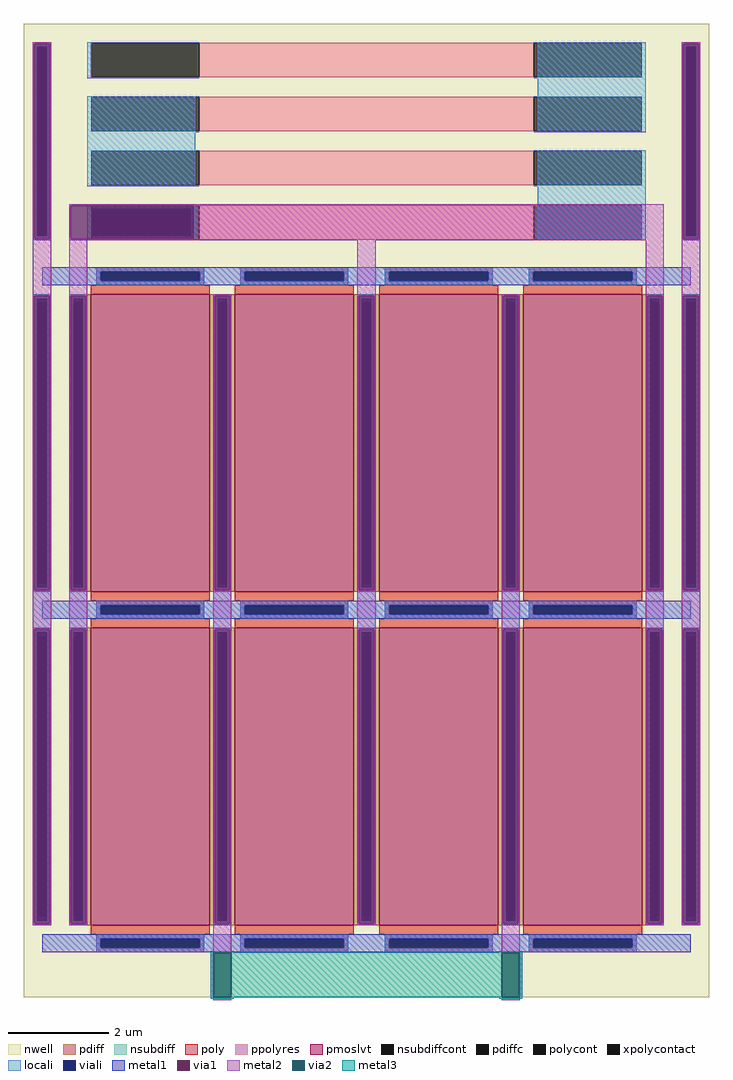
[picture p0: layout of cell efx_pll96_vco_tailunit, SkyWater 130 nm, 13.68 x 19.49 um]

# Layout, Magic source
magic
tech sky130A
magscale 1 2
<< nwell >>
rect -2736 4932 0 5976
rect -2736 3564 0 3708
rect -2736 2088 0 2340
<< nsubdiff >>
rect -2700 5880 -2628 5904
rect -2700 5136 -2681 5880
rect -2647 5136 -2628 5880
rect -2700 5112 -2628 5136
rect -108 5880 -36 5904
rect -108 5136 -89 5880
rect -55 5136 -36 5880
rect -108 5112 -36 5136
<< nsubdiffcont >>
rect -2681 5136 -2647 5880
rect -89 5136 -55 5880
<< poly >>
rect -2448 4985 -2016 5004
rect -2448 4951 -2429 4985
rect -2035 4951 -2016 4985
rect -2448 4932 -2016 4951
rect -1872 4985 -1440 5004
rect -1872 4951 -1853 4985
rect -1459 4951 -1440 4985
rect -1872 4932 -1440 4951
rect -1296 4985 -864 5004
rect -1296 4951 -1277 4985
rect -883 4951 -864 4985
rect -1296 4932 -864 4951
rect -720 4985 -288 5004
rect -720 4951 -701 4985
rect -307 4951 -288 4985
rect -720 4932 -288 4951
rect -2448 3653 -2016 3672
rect -2448 3619 -2429 3653
rect -2035 3619 -2016 3653
rect -2448 3600 -2016 3619
rect -1872 3653 -1440 3672
rect -1872 3619 -1853 3653
rect -1459 3619 -1440 3653
rect -1872 3600 -1440 3619
rect -1296 3653 -864 3672
rect -1296 3619 -1277 3653
rect -883 3619 -864 3653
rect -1296 3600 -864 3619
rect -720 3653 -288 3672
rect -720 3619 -701 3653
rect -307 3619 -288 3653
rect -720 3600 -288 3619
rect -2448 2321 -2016 2340
rect -2448 2287 -2429 2321
rect -2035 2287 -2016 2321
rect -2448 2268 -2016 2287
rect -1872 2321 -1440 2340
rect -1872 2287 -1853 2321
rect -1459 2287 -1440 2321
rect -1872 2268 -1440 2287
rect -1296 2321 -864 2340
rect -1296 2287 -1277 2321
rect -883 2287 -864 2321
rect -1296 2268 -864 2287
rect -720 2321 -288 2340
rect -720 2287 -701 2321
rect -307 2287 -288 2321
rect -720 2268 -288 2287
<< polycont >>
rect -2429 4951 -2035 4985
rect -1853 4951 -1459 4985
rect -1277 4951 -883 4985
rect -701 4951 -307 4985
rect -2429 3619 -2035 3653
rect -1853 3619 -1459 3653
rect -1277 3619 -883 3653
rect -701 3619 -307 3653
rect -2429 2287 -2035 2321
rect -1853 2287 -1459 2321
rect -1277 2287 -883 2321
rect -701 2287 -307 2321
<< locali >>
rect -2700 5886 -2628 5904
rect -2700 5130 -2682 5886
rect -2646 5130 -2628 5886
rect -2484 5328 -2052 5688
rect -684 5544 -252 5904
rect -108 5886 -36 5904
rect -2700 5112 -2628 5130
rect -2484 5238 -2052 5256
rect -2484 5130 -2466 5238
rect -2070 5130 -2052 5238
rect -2484 5112 -2052 5130
rect -684 5112 -252 5472
rect -108 5130 -90 5886
rect -54 5130 -36 5886
rect -108 5112 -36 5130
rect -2448 4986 -2016 5004
rect -2448 4950 -2430 4986
rect -2034 4950 -2016 4986
rect -2448 4932 -2016 4950
rect -1872 4986 -1440 5004
rect -1872 4950 -1854 4986
rect -1458 4950 -1440 4986
rect -1872 4932 -1440 4950
rect -1296 4986 -864 5004
rect -1296 4950 -1278 4986
rect -882 4950 -864 4986
rect -1296 4932 -864 4950
rect -720 4986 -288 5004
rect -720 4950 -702 4986
rect -306 4950 -288 4986
rect -720 4932 -288 4950
rect -2700 4878 -2628 4896
rect -2700 3726 -2682 4878
rect -2646 3726 -2628 4878
rect -2700 3546 -2628 3726
rect -2700 2394 -2682 3546
rect -2646 2394 -2628 3546
rect -2700 2376 -2628 2394
rect -2556 4878 -2484 4896
rect -2556 3726 -2538 4878
rect -2502 3726 -2484 4878
rect -2556 3546 -2484 3726
rect -1980 4878 -1908 4896
rect -1980 3726 -1962 4878
rect -1926 3726 -1908 4878
rect -2448 3654 -2016 3672
rect -2448 3618 -2430 3654
rect -2034 3618 -2016 3654
rect -2448 3600 -2016 3618
rect -2556 2394 -2538 3546
rect -2502 2394 -2484 3546
rect -2556 2376 -2484 2394
rect -1980 3546 -1908 3726
rect -1404 4878 -1332 4896
rect -1404 3726 -1386 4878
rect -1350 3726 -1332 4878
rect -1872 3654 -1440 3672
rect -1872 3618 -1854 3654
rect -1458 3618 -1440 3654
rect -1872 3600 -1440 3618
rect -1980 2394 -1962 3546
rect -1926 2394 -1908 3546
rect -1980 2376 -1908 2394
rect -1404 3546 -1332 3726
rect -828 4878 -756 4896
rect -828 3726 -810 4878
rect -774 3726 -756 4878
rect -1296 3654 -864 3672
rect -1296 3618 -1278 3654
rect -882 3618 -864 3654
rect -1296 3600 -864 3618
rect -1404 2394 -1386 3546
rect -1350 2394 -1332 3546
rect -1404 2376 -1332 2394
rect -828 3546 -756 3726
rect -252 4878 -180 4896
rect -252 3726 -234 4878
rect -198 3726 -180 4878
rect -720 3654 -288 3672
rect -720 3618 -702 3654
rect -306 3618 -288 3654
rect -720 3600 -288 3618
rect -828 2394 -810 3546
rect -774 2394 -756 3546
rect -828 2376 -756 2394
rect -252 3546 -180 3726
rect -252 2394 -234 3546
rect -198 2394 -180 3546
rect -252 2376 -180 2394
rect -108 4878 -36 4896
rect -108 3726 -90 4878
rect -54 3726 -36 4878
rect -108 3546 -36 3726
rect -108 2394 -90 3546
rect -54 2394 -36 3546
rect -108 2376 -36 2394
rect -2448 2322 -2016 2340
rect -2448 2286 -2430 2322
rect -2034 2286 -2016 2322
rect -2448 2268 -2016 2286
rect -1872 2322 -1440 2340
rect -1872 2286 -1854 2322
rect -1458 2286 -1440 2322
rect -1872 2268 -1440 2286
rect -1296 2322 -864 2340
rect -1296 2286 -1278 2322
rect -882 2286 -864 2322
rect -1296 2268 -864 2286
rect -720 2322 -288 2340
rect -720 2286 -702 2322
rect -306 2286 -288 2322
rect -720 2268 -288 2286
<< viali >>
rect -2682 5880 -2646 5886
rect -2682 5136 -2681 5880
rect -2681 5136 -2647 5880
rect -2647 5136 -2646 5880
rect -2682 5130 -2646 5136
rect -2466 5130 -2070 5238
rect -90 5880 -54 5886
rect -90 5136 -89 5880
rect -89 5136 -55 5880
rect -55 5136 -54 5880
rect -90 5130 -54 5136
rect -2430 4985 -2034 4986
rect -2430 4951 -2429 4985
rect -2429 4951 -2035 4985
rect -2035 4951 -2034 4985
rect -2430 4950 -2034 4951
rect -1854 4985 -1458 4986
rect -1854 4951 -1853 4985
rect -1853 4951 -1459 4985
rect -1459 4951 -1458 4985
rect -1854 4950 -1458 4951
rect -1278 4985 -882 4986
rect -1278 4951 -1277 4985
rect -1277 4951 -883 4985
rect -883 4951 -882 4985
rect -1278 4950 -882 4951
rect -702 4985 -306 4986
rect -702 4951 -701 4985
rect -701 4951 -307 4985
rect -307 4951 -306 4985
rect -702 4950 -306 4951
rect -2682 3726 -2646 4878
rect -2682 2394 -2646 3546
rect -2538 3726 -2502 4878
rect -1962 3726 -1926 4878
rect -2430 3653 -2034 3654
rect -2430 3619 -2429 3653
rect -2429 3619 -2035 3653
rect -2035 3619 -2034 3653
rect -2430 3618 -2034 3619
rect -2538 2394 -2502 3546
rect -1386 3726 -1350 4878
rect -1854 3653 -1458 3654
rect -1854 3619 -1853 3653
rect -1853 3619 -1459 3653
rect -1459 3619 -1458 3653
rect -1854 3618 -1458 3619
rect -1962 2394 -1926 3546
rect -810 3726 -774 4878
rect -1278 3653 -882 3654
rect -1278 3619 -1277 3653
rect -1277 3619 -883 3653
rect -883 3619 -882 3653
rect -1278 3618 -882 3619
rect -1386 2394 -1350 3546
rect -234 3726 -198 4878
rect -702 3653 -306 3654
rect -702 3619 -701 3653
rect -701 3619 -307 3653
rect -307 3619 -306 3653
rect -702 3618 -306 3619
rect -810 2394 -774 3546
rect -234 2394 -198 3546
rect -90 3726 -54 4878
rect -90 2394 -54 3546
rect -2430 2321 -2034 2322
rect -2430 2287 -2429 2321
rect -2429 2287 -2035 2321
rect -2035 2287 -2034 2321
rect -2430 2286 -2034 2287
rect -1854 2321 -1458 2322
rect -1854 2287 -1853 2321
rect -1853 2287 -1459 2321
rect -1459 2287 -1458 2321
rect -1854 2286 -1458 2287
rect -1278 2321 -882 2322
rect -1278 2287 -1277 2321
rect -1277 2287 -883 2321
rect -883 2287 -882 2321
rect -1278 2286 -882 2287
rect -702 2321 -306 2322
rect -702 2287 -701 2321
rect -701 2287 -307 2321
rect -307 2287 -306 2321
rect -702 2286 -306 2287
<< metal1 >>
rect -2700 5898 -2628 5904
rect -2700 5118 -2694 5898
rect -2634 5118 -2628 5898
rect -108 5898 -36 5904
rect -2700 5112 -2628 5118
rect -2556 5250 -2058 5256
rect -2556 5118 -2550 5250
rect -2556 5112 -2058 5118
rect -108 5118 -102 5898
rect -42 5118 -36 5898
rect -108 5112 -36 5118
rect -2664 4986 -72 5004
rect -2664 4950 -2430 4986
rect -2034 4950 -1854 4986
rect -1458 4950 -1278 4986
rect -882 4950 -702 4986
rect -306 4950 -72 4986
rect -2664 4932 -72 4950
rect -2700 4890 -2628 4896
rect -1980 4890 -1908 4896
rect -2700 3714 -2694 4890
rect -2634 3714 -2628 4890
rect -2700 3708 -2628 3714
rect -2556 3714 -2550 4890
rect -2490 3714 -2484 4890
rect -2556 3708 -2484 3714
rect -1980 3714 -1974 4890
rect -1914 3714 -1908 4890
rect -1980 3708 -1908 3714
rect -1404 4890 -1332 4896
rect -1404 3714 -1398 4890
rect -1338 3714 -1332 4890
rect -1404 3708 -1332 3714
rect -828 4890 -756 4896
rect -828 3714 -822 4890
rect -762 3714 -756 4890
rect -828 3708 -756 3714
rect -252 4890 -180 4896
rect -252 3714 -246 4890
rect -186 3714 -180 4890
rect -252 3708 -180 3714
rect -108 4890 -36 4896
rect -108 3714 -102 4890
rect -42 3714 -36 4890
rect -108 3708 -36 3714
rect -2664 3654 -72 3672
rect -2664 3618 -2430 3654
rect -2034 3618 -1854 3654
rect -1458 3618 -1278 3654
rect -882 3618 -702 3654
rect -306 3618 -72 3654
rect -2664 3600 -72 3618
rect -2700 3558 -2628 3564
rect -2700 2382 -2694 3558
rect -2634 2382 -2628 3558
rect -2700 2376 -2628 2382
rect -2556 3558 -2484 3564
rect -2556 2382 -2550 3558
rect -2490 2382 -2484 3558
rect -2556 2376 -2484 2382
rect -1980 3558 -1908 3564
rect -1980 2382 -1974 3558
rect -1914 2382 -1908 3558
rect -1980 2376 -1908 2382
rect -1404 3558 -1332 3564
rect -1404 2382 -1398 3558
rect -1338 2382 -1332 3558
rect -1404 2376 -1332 2382
rect -828 3558 -756 3564
rect -828 2382 -822 3558
rect -762 2382 -756 3558
rect -828 2376 -756 2382
rect -252 3558 -180 3564
rect -252 2382 -246 3558
rect -186 2382 -180 3558
rect -252 2376 -180 2382
rect -108 3558 -36 3564
rect -108 2382 -102 3558
rect -42 2382 -36 3558
rect -108 2376 -36 2382
rect -2664 2322 -72 2340
rect -2664 2286 -2430 2322
rect -2034 2286 -1854 2322
rect -1458 2286 -1278 2322
rect -882 2286 -702 2322
rect -306 2286 -72 2322
rect -2664 2268 -72 2286
<< via1 >>
rect -2694 5886 -2634 5898
rect -2694 5130 -2682 5886
rect -2682 5130 -2646 5886
rect -2646 5130 -2634 5886
rect -2694 5118 -2634 5130
rect -2550 5238 -2058 5250
rect -2550 5130 -2466 5238
rect -2466 5130 -2070 5238
rect -2070 5130 -2058 5238
rect -2550 5118 -2058 5130
rect -102 5886 -42 5898
rect -102 5130 -90 5886
rect -90 5130 -54 5886
rect -54 5130 -42 5886
rect -102 5118 -42 5130
rect -2694 4878 -2634 4890
rect -2694 3726 -2682 4878
rect -2682 3726 -2646 4878
rect -2646 3726 -2634 4878
rect -2694 3714 -2634 3726
rect -2550 4878 -2490 4890
rect -2550 3726 -2538 4878
rect -2538 3726 -2502 4878
rect -2502 3726 -2490 4878
rect -2550 3714 -2490 3726
rect -1974 4878 -1914 4890
rect -1974 3726 -1962 4878
rect -1962 3726 -1926 4878
rect -1926 3726 -1914 4878
rect -1974 3714 -1914 3726
rect -1398 4878 -1338 4890
rect -1398 3726 -1386 4878
rect -1386 3726 -1350 4878
rect -1350 3726 -1338 4878
rect -1398 3714 -1338 3726
rect -822 4878 -762 4890
rect -822 3726 -810 4878
rect -810 3726 -774 4878
rect -774 3726 -762 4878
rect -822 3714 -762 3726
rect -246 4878 -186 4890
rect -246 3726 -234 4878
rect -234 3726 -198 4878
rect -198 3726 -186 4878
rect -246 3714 -186 3726
rect -102 4878 -42 4890
rect -102 3726 -90 4878
rect -90 3726 -54 4878
rect -54 3726 -42 4878
rect -102 3714 -42 3726
rect -2694 3546 -2634 3558
rect -2694 2394 -2682 3546
rect -2682 2394 -2646 3546
rect -2646 2394 -2634 3546
rect -2694 2382 -2634 2394
rect -2550 3546 -2490 3558
rect -2550 2394 -2538 3546
rect -2538 2394 -2502 3546
rect -2502 2394 -2490 3546
rect -2550 2382 -2490 2394
rect -1974 3546 -1914 3558
rect -1974 2394 -1962 3546
rect -1962 2394 -1926 3546
rect -1926 2394 -1914 3546
rect -1974 2382 -1914 2394
rect -1398 3546 -1338 3558
rect -1398 2394 -1386 3546
rect -1386 2394 -1350 3546
rect -1350 2394 -1338 3546
rect -1398 2382 -1338 2394
rect -822 3546 -762 3558
rect -822 2394 -810 3546
rect -810 2394 -774 3546
rect -774 2394 -762 3546
rect -822 2382 -762 2394
rect -246 3546 -186 3558
rect -246 2394 -234 3546
rect -234 2394 -198 3546
rect -198 2394 -186 3546
rect -246 2382 -186 2394
rect -102 3546 -42 3558
rect -102 2394 -90 3546
rect -90 2394 -54 3546
rect -54 2394 -42 3546
rect -102 2382 -42 2394
<< metal2 >>
rect -2700 5898 -2628 5904
rect -2700 5118 -2694 5898
rect -2634 5118 -2628 5898
rect -108 5898 -36 5904
rect -2700 4890 -2628 5118
rect -2700 3714 -2694 4890
rect -2634 3714 -2628 4890
rect -2700 3558 -2628 3714
rect -2700 2382 -2694 3558
rect -2634 2382 -2628 3558
rect -2700 2376 -2628 2382
rect -2556 5250 -180 5256
rect -2556 5118 -2550 5250
rect -2058 5118 -180 5250
rect -2556 5112 -180 5118
rect -2556 4890 -2484 5112
rect -2556 3714 -2550 4890
rect -2490 3714 -2484 4890
rect -2556 3558 -2484 3714
rect -2556 2382 -2550 3558
rect -2490 2382 -2484 3558
rect -2556 2376 -2484 2382
rect -1980 4890 -1908 4896
rect -1980 3714 -1974 4890
rect -1914 3714 -1908 4890
rect -1980 3558 -1908 3714
rect -1980 2382 -1974 3558
rect -1914 2382 -1908 3558
rect -1980 2268 -1908 2382
rect -1404 4890 -1332 5112
rect -1404 3714 -1398 4890
rect -1338 3714 -1332 4890
rect -1404 3558 -1332 3714
rect -1404 2382 -1398 3558
rect -1338 2382 -1332 3558
rect -1404 2376 -1332 2382
rect -828 4890 -756 4896
rect -828 3714 -822 4890
rect -762 3714 -756 4890
rect -828 3558 -756 3714
rect -828 2382 -822 3558
rect -762 2382 -756 3558
rect -1980 2078 -1908 2088
rect -828 2268 -756 2382
rect -252 4890 -180 5112
rect -252 3714 -246 4890
rect -186 3714 -180 4890
rect -252 3558 -180 3714
rect -252 2382 -246 3558
rect -186 2382 -180 3558
rect -252 2376 -180 2382
rect -108 5118 -102 5898
rect -42 5118 -36 5898
rect -108 4890 -36 5118
rect -108 3714 -102 4890
rect -42 3714 -36 4890
rect -108 3558 -36 3714
rect -108 2382 -102 3558
rect -42 2382 -36 3558
rect -108 2376 -36 2382
rect -828 2078 -756 2088
<< via2 >>
rect -1980 2088 -1908 2268
rect -828 2088 -756 2268
<< metal3 >>
rect -1990 2268 -1898 2273
rect -838 2268 -746 2273
rect -1990 2088 -1980 2268
rect -1908 2088 -828 2268
rect -756 2088 -746 2268
rect -1990 2083 -1898 2088
rect -838 2083 -746 2088
use pmos_n33_f4_l2380_tl_tr_lvt  pmos_n33_f4_l2380_tl_tr_lvt_10
transform 1 0 -2520 0 1 2376
box -216 -36 2520 1224
use pmos_n33_f4_l2380_tl_tr_lvt  pmos_n33_f4_l2380_tl_tr_lvt_11
transform 1 0 -2520 0 1 3708
box -216 -36 2520 1224
use ppolyres_w0p69_rl38_nwell  ppolyres_w0p69_rl38_nwell_0
transform 0 1 -2484 -1 0 5832
box -108 -36 108 2268
use ppolyres_w0p69_rl38_nwell  ppolyres_w0p69_rl38_nwell_1
transform 0 1 -2484 -1 0 5616
box -108 -36 108 2268
use ppolyres_w0p69_rl38_nwell  ppolyres_w0p69_rl38_nwell_2
transform 0 1 -2484 -1 0 5400
box -108 -36 108 2268
use ppolyres_w0p69_rl38_nwell  ppolyres_w0p69_rl38_nwell_3
transform 0 1 -2484 -1 0 5184
box -108 -36 108 2268
<< end >>

# cell pmos_n33_f4_l2380_tl_tr_lvt: kit device pmos, n 33 fingers 4 length 2.38 butted 0 ltap 1 rtap 1 vt lvt tgate 0 bgate 0

# cell ppolyres_w0p69_rl38_nwell: kit device ppolyres, w 0.69 rl 38 nwell 1
